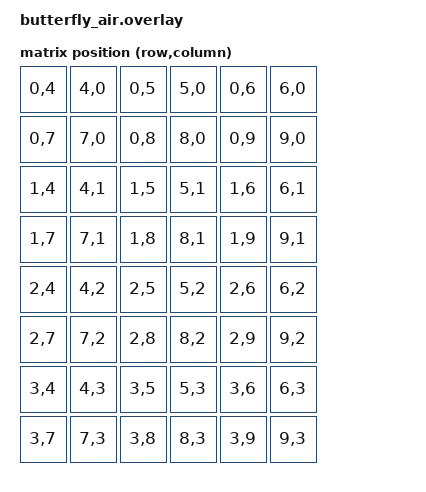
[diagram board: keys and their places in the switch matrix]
/*
 * Butterfly Air
 *
 * 4 ROW x 6 COL Japanese Duplex Matrix = 48 keys
 *
 * Physical GPIO assignment:
 *   ROW0 = D2
 *   ROW1 = D3
 *   ROW2 = D10
 *   ROW3 = D16
 *   COL0 = D4
 *   COL1 = D5
 *   COL2 = D6
 *   COL3 = D18
 *   COL4 = D15
 *   COL5 = D14
 *
 * Each physical ROW/COL intersection has two diodes:
 *   ROW -> COL
 *   COL -> ROW
 *
 * ZMK's built-in charlieplex kscan driver is used. No custom C driver
 * is required: the 10 GPIOs are treated as a 10-pin charlieplex space,
 * and the matrix transform exposes only the 48 wired directions.
 */

#include <dt-bindings/zmk/matrix_transform.h>
#include <zephyr/dt-bindings/gpio/gpio.h>

/ {
    chosen {
        zmk,kscan = &kscan0;
        zmk,physical-layout = &physical_layout0;
    };

    kscan0: kscan_0 {
        compatible = "zmk,kscan-gpio-charlieplex";

        /*
         * Charlieplex GPIO indices:
         *   0..3 = ROW0..ROW3
         *   4..9 = COL0..COL5
         *
         * All GPIOs must use GPIO_ACTIVE_HIGH for this driver.
         */
        gpios
            = <&pro_micro 2  GPIO_ACTIVE_HIGH>  /* 0: ROW0 */
            , <&pro_micro 3  GPIO_ACTIVE_HIGH>  /* 1: ROW1 */
            , <&pro_micro 10 GPIO_ACTIVE_HIGH>  /* 2: ROW2 */
            , <&pro_micro 16 GPIO_ACTIVE_HIGH>  /* 3: ROW3 */
            , <&pro_micro 4  GPIO_ACTIVE_HIGH>  /* 4: COL0 */
            , <&pro_micro 5  GPIO_ACTIVE_HIGH>  /* 5: COL1 */
            , <&pro_micro 6  GPIO_ACTIVE_HIGH>  /* 6: COL2 */
            , <&pro_micro 18 GPIO_ACTIVE_HIGH>  /* 7: COL3 */
            , <&pro_micro 15 GPIO_ACTIVE_HIGH>  /* 8: COL4 */
            , <&pro_micro 14 GPIO_ACTIVE_HIGH>  /* 9: COL5 */
            ;

        debounce-press-ms = <5>;
        debounce-release-ms = <5>;
        debounce-scan-period-ms = <1>;
        poll-period-ms = <10>;
    };

    /*
     * Current ZMK keyboard-shield structure uses a physical-layout node
     * to associate the kscan and matrix transform. No physical key
     * coordinates are supplied yet, so this is the basic (non-Studio)
     * physical layout form.
     */
    physical_layout0: physical_layout_0 {
        compatible = "zmk,physical-layout";
        display-name = "Default Layout";
        kscan = <&kscan0>;
        transform = <&default_transform>;
    };

    /*
     * Logical matrix: 4 rows x 12 columns = 48 positions.
     *
     * Each physical intersection contributes two logical positions:
     *
     *   RC(row, col) = ROW -> COL
     *   RC(col, row) = COL -> ROW
     *
     * Example for ROW0/COL0 (GPIO 0 / GPIO 4):
     *   RC(0,4) = diode direction ROW0 -> COL0
     *   RC(4,0) = diode direction COL0 -> ROW0
     */
    default_transform: matrix_transform {
        compatible = "zmk,matrix-transform";

        rows = <4>;
        columns = <12>;

        map = <
            /* ROW0 */
            RC(0,4) RC(4,0)  RC(0,5) RC(5,0)  RC(0,6) RC(6,0)
            RC(0,7) RC(7,0)  RC(0,8) RC(8,0)  RC(0,9) RC(9,0)

            /* ROW1 */
            RC(1,4) RC(4,1)  RC(1,5) RC(5,1)  RC(1,6) RC(6,1)
            RC(1,7) RC(7,1)  RC(1,8) RC(8,1)  RC(1,9) RC(9,1)

            /* ROW2 */
            RC(2,4) RC(4,2)  RC(2,5) RC(5,2)  RC(2,6) RC(6,2)
            RC(2,7) RC(7,2)  RC(2,8) RC(8,2)  RC(2,9) RC(9,2)

            /* ROW3 */
            RC(3,4) RC(4,3)  RC(3,5) RC(5,3)  RC(3,6) RC(6,3)
            RC(3,7) RC(7,3)  RC(3,8) RC(8,3)  RC(3,9) RC(9,3)
        >;
    };
};
